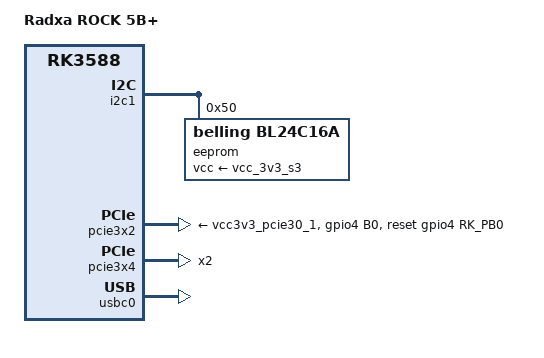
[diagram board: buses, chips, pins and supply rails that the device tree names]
// SPDX-License-Identifier: (GPL-2.0+ OR MIT)
/*
 * Copyright (c) 2024 Radxa Computer (Shenzhen) Co., Ltd.
 */

/dts-v1/;

#include "rk3588-rock-5.dtsi"

/ {
	model = "Radxa ROCK 5B+";
	compatible = "radxa,rock-5b-plus", "rockchip,rk3588";

	analog-sound {
		hp-det-gpios = <&gpio1 RK_PD5 GPIO_ACTIVE_HIGH>;
	};

	regulator-vcc3v3-wf {
		gpios = <&gpio1 RK_PD2 GPIO_ACTIVE_HIGH>;
	};

	regulator-vcc5v-usb {
		gpios = <&gpio1 RK_PA1 GPIO_ACTIVE_HIGH>;
	};

	regulator-vcc-5v {
		regulator-always-on;
		regulator-boot-on;
	};

	rfkill {
		label = "rfkill-wlan";
		shutdown-gpios = <&gpio4 RK_PA2 GPIO_ACTIVE_HIGH>;
	};

	rfkill-bt {
		label = "rfkill-bt";
	};
};

&i2c1 {
	eeprom@50 {
		compatible = "belling,bl24c16a", "atmel,24c16";
		reg = <0x50>;
		pagesize = <16>;
		vcc-supply = <&vcc_3v3_s3>;
	};
};

&pcie30phy {
	data-lanes = <1 1 2 2>;
};

&pcie3x2 {
	pinctrl-names = "default";
	pinctrl-0 = <&pcie30x2_perstn_m1>;
	reset-gpios = <&gpio4 RK_PB0 GPIO_ACTIVE_HIGH>;
	vpcie3v3-supply = <&vcc3v3_pcie30_1>;
	status = "okay";
};

&pcie3x4 {
	num-lanes = <2>;
};

&pinctrl {
	pcie2 {
		ekey_en: ekey-en {
			rockchip,pins = <1 RK_PD2 RK_FUNC_GPIO &pcfg_pull_none>;
		};
	};

	pcie3 {
		pcie30x2_perstn_m1: pcie30x4-perstn-m1 {
			rockchip,pins = <4 RK_PB0 RK_FUNC_GPIO &pcfg_pull_none>;
		};
	};

	sound {
		hp_detect: hp-detect {
			rockchip,pins = <1 RK_PD5 RK_FUNC_GPIO &pcfg_pull_none>;
		};
	};

	usb {
		usb_host_pwren_h: usb-host-pwren-h {
			rockchip,pins = <1 RK_PA1 RK_FUNC_GPIO &pcfg_pull_none>;
		};
	};
};

&u2phy0_otg {
	phy-supply = <&vbus_typec0>;
};

&u2phy1_otg {
	phy-supply = <&vcc5v_usb>;
};

&u2phy2_host {
	/* connected to USB hub, which is powered by vcc_5v */
	phy-supply = <&vcc_5v>;
};

&usbc0 {
	status = "okay";
};

&usbc0_con {
	power-role = "source";
	source-pdos =
		<PDO_FIXED(5000, 3000, PDO_FIXED_USB_COMM)>;
};

&usbdp_phy0 {
	sbu1-dc-gpios = <&gpio0 RK_PC4 GPIO_ACTIVE_HIGH>;
	sbu2-dc-gpios = <&gpio0 RK_PC5 GPIO_ACTIVE_HIGH>;
};
